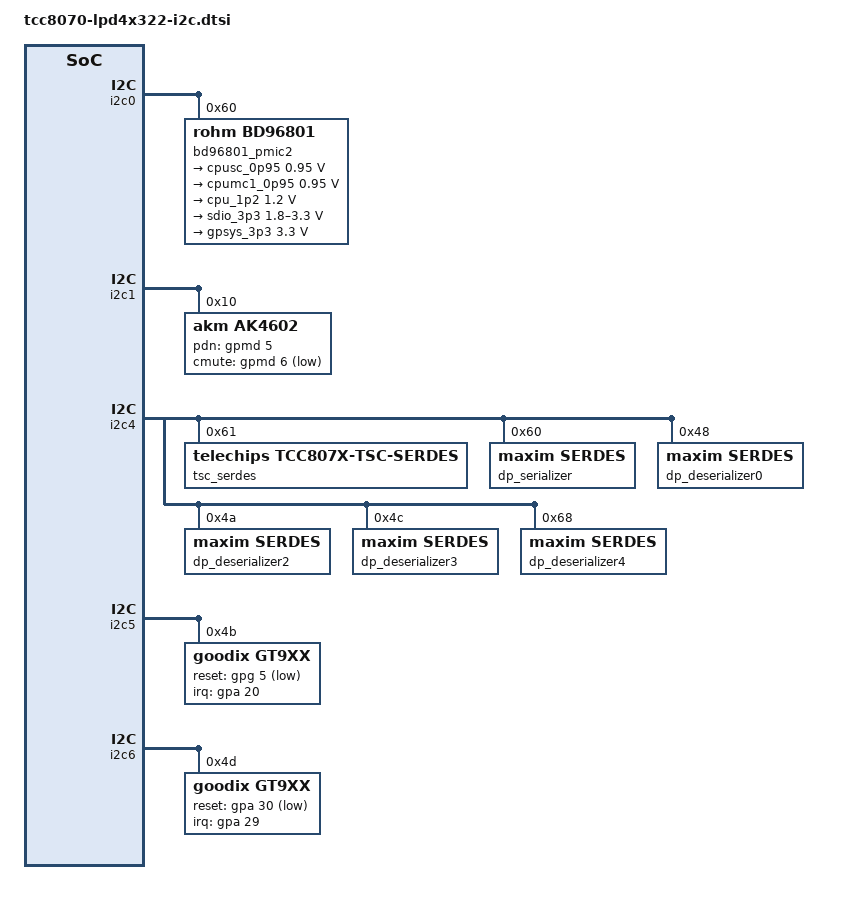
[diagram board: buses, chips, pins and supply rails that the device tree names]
// SPDX-License-Identifier: (GPL-2.0-or-later OR MIT)
/*
 * Copyright (C) 2023 Telechips Inc.
 */

#include <dt-bindings/gpio/gpio.h>
#include <dt-bindings/interrupt-controller/arm-gic.h>

/* PMIC */
&i2c0 {
	status = "okay";
	port-mux = <38>;
	pinctrl-names = "default", "sleep";
	pinctrl-0 = <&i2c38_bus_active>;
	pinctrl-1 = <&i2c38_bus_sleep>;

	#address-cells = <1>;
	#size-cells = <0>;

	bd96801_pmic2: pmic@60 {
		compatible = "rohm,bd96801";
		reg = <0x60>;

		regulators {
			cpusc_0p95: BUCK1 {
				regulator-name = "cpusc_0p95";
				regulator-min-microvolt = <950000>;
				regulator-max-microvolt = <950000>;
				regulator-always-on;
				regulator-boot-on;
			}; /* Connected to CPUSC_0P95 */

			cpumc1_0p95: BUCK3 {
				regulator-name = "cpumc1_0p95";
				regulator-min-microvolt = <950000>;
				regulator-max-microvolt = <950000>;
				regulator-always-on;
				regulator-boot-on;
			}; /* Connected to CPUMC1_0P95 */

			cpu_1p2: LDO5 {
				regulator-name = "cpu_1p2";
				regulator-min-microvolt = <1200000>;
				regulator-max-microvolt = <1200000>;
				regulator-always-on;
				regulator-boot-on;
			}; /* Connected to CPU_1P2 */

			sdio_3p3: LDO6 {
				regulator-name = "sdio_3p3";
				regulator-min-microvolt = <1800000>;
				regulator-max-microvolt = <3300000>;
				regulator-always-on;
				regulator-boot-on;
			}; /* Connected to SDIO_3P3 */

			gpsys_3p3: LDO7 {
				regulator-name = "gpsys_3p3";
				regulator-min-microvolt = <3300000>;
				regulator-max-microvolt = <3300000>;
				regulator-always-on;
				regulator-boot-on;
			}; /* Connected to GPSYS_3P3 */
		};
	};
};

/* AUDIO */
&i2c1 {
	status = "okay";
	port-mux = <10>;
	pinctrl-names = "default", "sleep";
	pinctrl-0 = <&i2c10_bus_active>;
	pinctrl-1 = <&i2c10_bus_sleep>;

	#address-cells = <1>;
	#size-cells = <0>;

	ak4602: ak4602@10 {
		compatible = "akm,ak4602";
		ak4602,pdn-gpio = <&gpmd 5 0>;
		cmute-gpios = <&gpmd 6 1>;     //CODEC_MUTE    0: active high, 1: active low
		//amute-gpios = <&gpma 1 1>;       //AMP_MUTE      0: active high, 1: active low
		//stanby-gpios = <&gpma 2 0>;     //AMP_STBY      0: active high, 1: active low
		reg = <0x10>;
	};
};

/* TUNER, MIPI1_0 */
&i2c2 {
	status = "disabled";
	port-mux = <11>;
	retry-count = <100>;
	cmd-timeout = <2000>;
	pinctrl-names = "default", "sleep";
	pinctrl-0 = <&i2c11_bus_active>;
	pinctrl-1 = <&i2c11_bus_sleep>;

	#address-cells = <1>;
	#size-cells = <0>;
};

/* DISP4_TSC, C_SEN0, MIPI0_0 */
&i2c3 {
	status = "disabled";
	port-mux = <12>;
	retry-count = <100>;
	cmd-timeout = <2000>;
	pinctrl-names = "default", "sleep";
	pinctrl-0 = <&i2c12_bus_active>;
	pinctrl-1 = <&i2c12_bus_sleep>;

	#address-cells = <1>;
	#size-cells = <0>;
};

/* DP SER, MIPI0_1 */
&i2c4 {
	status = "okay";
	port-mux = <13>;
	pinctrl-names = "default", "sleep";
	pinctrl-0 = <&i2c13_bus_active>;
	pinctrl-1 = <&i2c13_bus_sleep>;

	#address-cells = <1>;
	#size-cells = <0>;

	/* Use burst-mode for serdes */
	burst-mode;

	tsc_serdes: tsc_serdes@61 {
		compatible = "telechips,tcc807x-tsc-serdes";
		status = "okay";
		reg = <0x61>;
		max-disp-num = <2>;
		/* 0x01: TCC803XPE_EVB
		   0x02: TCC8059_EVB
		   0x04: TCC8050_53_EVB
		   0x08: TCC8070_EVB */
		board-type = <0x08>;
		/* 0xBA: AUO Touch IC(goodix)
		   0x94: BOE Touch IC(atmel) */
		lcd-touch-addr = <0xBA>;
	};

	dp_serializer: max96851@60 {
		compatible = "maxim,serdes";
		reg = <0x60>;
	};

	dp_deserializer0: max96878@48 {
		compatible = "maxim,serdes";
		reg = <0x48>;
	};

	dp_deserializer2: max96878@4a {
		compatible = "maxim,serdes";
		reg = <0x4A>;
	};

	dp_deserializer3: max96878@4c {
		compatible = "maxim,serdes";
		reg = <0x4C>;
	};

	dp_deserializer4: max96878@68 {
		compatible = "maxim,serdes";
		reg = <0x68>;
	};
};

/* DISP0_TSC, IPOD_CP, MIPI1_1, C_SEN1 */
&i2c5 {
	status = "okay";
	port-mux = <36>;
	pinctrl-names = "default", "sleep";
	pinctrl-0 = <&i2c36_bus_active>;
	pinctrl-1 = <&i2c36_bus_sleep>;

	#address-cells = <1>;
	#size-cells = <0>;

	/* Use burst-mode for touch */
	burst-mode;

	/* Retransmission due to nack response from mxt touch */
	retry-count = <100>;
	cmd-timeout = <2000>;
	recovery-gpios = <&gpmc 10 0>, <&gpmc 11 0>;

	/* BOE panel touch IC */
	mxt_touch@4b {
		compatible = "atmel,maxtouch";
		status = "disabled";
		reg = <0x4b>;
		pinctrl-names = "default", "sleep";
		pinctrl-0 = <&boe_tsc0_default>;
		pinctrl-1 = <&boe_tsc0_default>;

		interrupt-parent = <&gpa>;
		interrupts = <20 IRQ_TYPE_EDGE_FALLING>;
		reset-gpio = <&gpg 5 GPIO_ACTIVE_LOW>;

		tsc-serdes-handle = <&tsc_serdes>;
	};

	/* AUO panel touch IC */
	gt9xx@4b {
		compatible = "goodix,gt9xx";
		reg = <0x4b>;
		status = "okay";
		interrupt-parent = <&gpa>;
		interrupts = <20 IRQ_TYPE_EDGE_FALLING>;
		pinctrl-names = "default", "int-output-low","int-output-high", "int-input", "sleep";
		pinctrl-0 = <&auo_tsc0_int_default>;
		pinctrl-1 = <&auo_tsc0_int_output_low>;
		pinctrl-2 = <&auo_tsc0_int_output_high>;
		pinctrl-3 = <&auo_tsc0_int_input>;
		pinctrl-4 = <&auo_tsc0_int_default>;

		reset-gpios = <&gpg 5 GPIO_ACTIVE_LOW>;
		irq-gpios = <&gpa 20 IRQ_TYPE_EDGE_FALLING>;
		irq-flags = <2>;

		touchscreen-max-id = <11>;
		touchscreen-size-x = <1920>;
		touchscreen-size-y = <720>;
		touchscreen-max-w = <512>;
		touchscreen-max-p = <512>;
		touchscreen-key-map = <172>, <158>; /*KEY_HOMEPAGE=172, KEY_BACK=158，KEY_MENU=139*/

		goodix,slide-wakeup = <0>;
		goodix,type-a-report = <0>;
		goodix,driver-send-cfg = <0>;
		goodix,resume-in-workqueue = <0>;
		goodix,int-sync = <1>;
		goodix,swap-x2y = <0>;
		goodix,esd-protect = <1>;
		goodix,auto-update-cfg = <0>;
		goodix,power-off-sleep = <0>;
		goodix,pen-suppress-finger = <0>;
		goodix,cfg-group0 = [
			53 D0 02 00 05 05 F5 D5 21 48 2D 0F 5A 41 0E 05 00 00 32 32 20 00 05 14 14 1A 14 8B 2B 00
		];
		tsc-serdes-handle = <&tsc_serdes>;
	};
};

/* DISP1_TSC, MIPI1_2, C_SEN2 */
&i2c6 {
	status = "okay";
	port-mux = <37>;
	pinctrl-names = "default", "sleep";
	pinctrl-0 = <&i2c37_bus_active>;
	pinctrl-1 = <&i2c37_bus_sleep>;

	#address-cells = <1>;
	#size-cells = <0>;

	/* Use burst-mode for touch */
	burst-mode;

	/* Retransmission due to nack response from mxt touch */
	retry-count = <100>;
	cmd-timeout = <2000>;
	recovery-gpios = <&gpmc 16 0>, <&gpmc 17 0>;

	/* BOE panel touch IC */
	mxt_touch@4d {
		compatible = "atmel,maxtouch";
		status = "disabled";
		reg = <0x4d>;
		pinctrl-names = "default", "sleep";
		pinctrl-0 = <&boe_tsc1_default>;
		pinctrl-1 = <&boe_tsc1_default>;

		interrupt-parent = <&gpa>;
		interrupts = <29 IRQ_TYPE_EDGE_FALLING>;
		reset-gpio = <&gpa 30 GPIO_ACTIVE_LOW>;

		tsc-serdes-handle = <&tsc_serdes>;
	};

	/* AUO panel touch IC */
	gt9xx@4d {
		compatible = "goodix,gt9xx";
		reg = <0x4d>;
		status = "okay";
		interrupt-parent = <&gpa>;
		interrupts = <29 IRQ_TYPE_EDGE_FALLING>;
		pinctrl-names = "default", "int-output-low","int-output-high", "int-input", "sleep";
		pinctrl-0 = <&auo_tsc1_int_default>;
		pinctrl-1 = <&auo_tsc1_int_output_low>;
		pinctrl-2 = <&auo_tsc1_int_output_high>;
		pinctrl-3 = <&auo_tsc1_int_input>;
		pinctrl-4 = <&auo_tsc1_int_default>;

		reset-gpios = <&gpa 30 GPIO_ACTIVE_LOW>;
		irq-gpios = <&gpa 29 IRQ_TYPE_EDGE_FALLING>;
		irq-flags = <2>;

		touchscreen-max-id = <11>;
		touchscreen-size-x = <1920>;
		touchscreen-size-y = <720>;
		touchscreen-max-w = <512>;
		touchscreen-max-p = <512>;
		touchscreen-key-map = <172>, <158>; /*KEY_HOMEPAGE=172, KEY_BACK=158，KEY_MENU=139*/

		goodix,slide-wakeup = <0>;
		goodix,type-a-report = <0>;
		goodix,driver-send-cfg = <0>;
		goodix,resume-in-workqueue = <0>;
		goodix,int-sync = <1>;
		goodix,swap-x2y = <0>;
		goodix,esd-protect = <1>;
		goodix,auto-update-cfg = <0>;
		goodix,power-off-sleep = <0>;
		goodix,pen-suppress-finger = <0>;
		goodix,cfg-group0 = [
			53 D0 02 00 05 05 F5 D5 21 48 2D 0F 5A 41 0E 05 00 00 32 32 20 00 05 14 14 1A 14 8B 2B 00
		];
		tsc-serdes-handle = <&tsc_serdes>;
	};
};

/* dedicated I2C in Camera : MIPI 0 */
&i2c12 {
 	status = "disabled";
	port-mux = <1>;
	retry-count = <100>;
	cmd-timeout = <2000>;
	pinctrl-names = "default", "sleep";
	pinctrl-0 = <&i2c_cam1_bus_active>;
	pinctrl-1 = <&i2c_cam1_bus_sleep>;

 	#address-cells = <1>;
 	#size-cells = <0>;
};

/* dedicated I2C in Camera : MIPI 1 */
&i2c13 {
 	status = "disabled";
	port-mux = <2>;
	retry-count = <100>;
	cmd-timeout = <2000>;
	pinctrl-names = "default", "sleep";
	pinctrl-0 = <&i2c_cam2_bus_active>;
	pinctrl-1 = <&i2c_cam2_bus_sleep>;

 	#address-cells = <1>;
 	#size-cells = <0>;
};

&pinctrl {
	i2c10_bus_active: i2c10_bus_active {
		telechips,pins = "gpb-17", "gpb-18";
		telechips,pin-function = <8>;
		telechips,input_buffer_enable;
		telechips,no-pull;
	};

	i2c10_bus_sleep: i2c10_bus_sleep {
		telechips,pins = "gpb-17", "gpb-18";
		telechips,pin-function = <0>;
		telechips,no-pull;
	};

	i2c11_bus_active: i2c11_bus_active {
		telechips,pins = "gpb-19", "gpb-20";
		telechips,pin-function = <8>;
		telechips,input_buffer_enable;
		telechips,no-pull;
	};

	i2c11_bus_sleep: i2c11_bus_sleep {
		telechips,pins = "gpb-19", "gpb-20";
		telechips,pin-function = <0>;
		telechips,no-pull;
	};

	i2c12_bus_active: i2c12_bus_active {
		telechips,pins = "gpb-21", "gpb-22";
		telechips,pin-function = <8>;
		telechips,input_buffer_enable;
		telechips,no-pull;
	};

	i2c12_bus_sleep: i2c12_bus_sleep {
		telechips,pins = "gpb-21", "gpb-22";
		telechips,pin-function = <0>;
		telechips,no-pull;
	};

	i2c13_bus_active: i2c13_bus_active {
		telechips,pins = "gpb-23", "gpb-24";
		telechips,pin-function = <8>;
		telechips,input_buffer_enable;
		telechips,no-pull;
	};

	i2c13_bus_sleep: i2c13_bus_sleep {
		telechips,pins = "gpb-23", "gpb-24";
		telechips,pin-function = <0>;
		telechips,no-pull;
	};

	i2c36_bus_active: i2c36_bus_active {
		telechips,pins = "gpmc-10", "gpmc-11";
		telechips,pin-function = <8>;
		telechips,input_buffer_enable;
		telechips,no-pull;
	};

	i2c36_bus_sleep: i2c36_bus_sleep {
		telechips,pins = "gpmc-10", "gpmc-11";
		telechips,pin-function = <0>;
		telechips,no-pull;
	};

	i2c37_bus_active: i2c37_bus_active {
		telechips,pins = "gpmc-16", "gpmc-17";
		telechips,pin-function = <8>;
		telechips,input_buffer_enable;
		telechips,no-pull;
	};

	i2c37_bus_sleep: i2c37_bus_sleep {
		telechips,pins = "gpmc-16", "gpmc-17";
		telechips,pin-function = <0>;
		telechips,no-pull;
	};

	i2c38_bus_active: i2c38_bus_active {
		telechips,pins = "gpmc-22", "gpmc-23";
		telechips,pin-function = <8>;
		telechips,input_buffer_enable;
		telechips,no-pull;
	};

	i2c38_bus_sleep: i2c38_bus_sleep {
		telechips,pins = "gpmc-22", "gpmc-23";
		telechips,pin-function = <0>;
		telechips,no-pull;
	};

	boe_tsc0_default: boe_tsc0_default {
		telechips,pins = "gpa-20", "gpg-5";
		telechips,pin-function = <0>;
		telechips,no-pull;
		telechips,input_buffer_enable;
		telechips,input-enable;
	};

	boe_tsc1_default: boe_tsc1_default {
		telechips,pins = "gpa-29", "gpa-30";
		telechips,pin-function = <0>;
		telechips,no-pull;
		telechips,input_buffer_enable;
		telechips,input-enable;
	};

	auo_tsc0_int_default: auo_tsc0_int_default {
		telechips,pins = "gpa-20", "gpg-5";
		telechips,pin-function = <0>;
		telechips,no-pull;
		telechips,input_buffer_enable;
		telechips,input-enable;
	};

	auo_tsc0_int_output_low: auo_tsc0_int_output_low {
		telechips,pins = "gpa-20";
		telechips,pin-function = <0>;
		telechips,output-low;
	};

	auo_tsc0_int_output_high: auo_tsc0_int_output_high {
		telechips,pins = "gpa-20";
		telechips,pin-function = <0>;
		telechips,output-high;
	};

	auo_tsc0_int_input: auo_tsc0_int_input {
		telechips,pins = "gpa-20";
		telechips,pin-function = <0>;
		telechips,no-pull;
		telechips,input_buffer_enable;
		telechips,input-enable;
	};

	auo_tsc1_int_default: auo_tsc1_int_default {
		telechips,pins = "gpa-29", "gpa-30";
		telechips,pin-function = <0>;
		telechips,no-pull;
		telechips,input_buffer_enable;
		telechips,input-enable;
	};

	auo_tsc1_int_output_low: auo_tsc1_int_output_low {
		telechips,pins = "gpa-29";
		telechips,pin-function = <0>;
		telechips,output-low;
	};

	auo_tsc1_int_output_high: auo_tsc1_int_output_high {
		telechips,pins = "gpa-29";
		telechips,pin-function = <0>;
		telechips,output-high;
	};

	auo_tsc1_int_input: auo_tsc1_int_input {
		telechips,pins = "gpa-29";
		telechips,pin-function = <0>;
		telechips,no-pull;
		telechips,input_buffer_enable;
		telechips,input-enable;
	};

	i2c_cam1_bus_active: i2c_cam1_bus_active {
		telechips,pins = "gpmb-4", "gpmb-5";
		telechips,pin-function = <9>;
		telechips,input_buffer_enable;
		telechips,no-pull;
	};

	i2c_cam1_bus_sleep: i2c_cam1_bus_sleep {
		telechips,pins = "gpmb-4", "gpmb-5";
		telechips,pin-function = <0>;
		telechips,no-pull;
	};

	i2c_cam2_bus_active: i2c_cam2_bus_active {
		telechips,pins = "gpmb-30", "gpmb-31";
		telechips,pin-function = <9>;
		telechips,input_buffer_enable;
		telechips,no-pull;
	};

	i2c_cam2_bus_sleep: i2c_cam2_bus_sleep {
		telechips,pins = "gpmb-30", "gpmb-31";
		telechips,pin-function = <0>;
		telechips,no-pull;
	};

};
